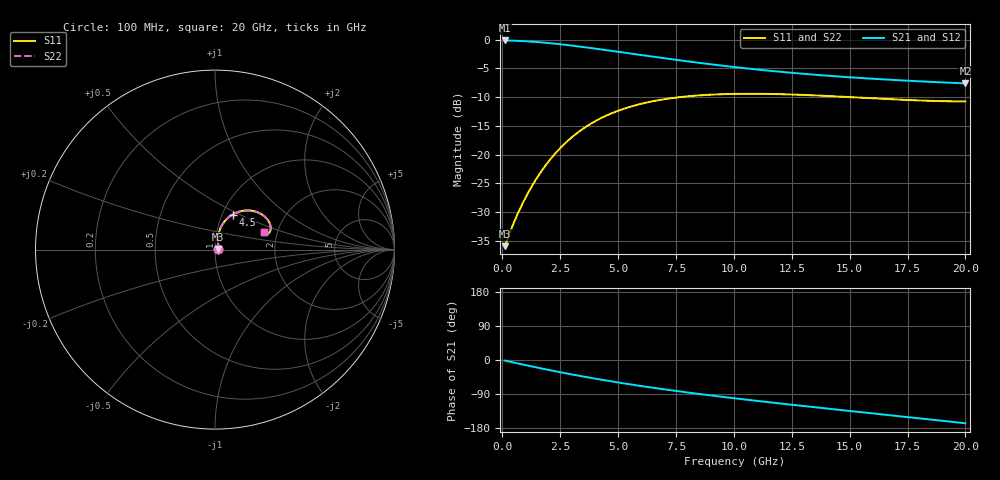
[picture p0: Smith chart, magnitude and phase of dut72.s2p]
! Touchstone file exported from HFSS 2024.1.0
!  File:  C:/UserFiles/LocalFiles/RDL_TSV_Batchsim/temp_RDL_TSV_72_1779412016.aedt
!  Generated:  09:26:28 AM May 22, 2026
!  Design:  RDL_TSV
!  Project:  temp_RDL_TSV_72_1779412016
!  Setup:  Setup1
!  Solution:  Sweep
! Variables:
!  dtsv = 5.31um
!  hbump = 3um
!  htsv = 86.79um
!  ldown = 347.56um
!  lrdl = 289.68um
!  p = 40
!  p1 = 46.55um
!  rhole = 10um
!  subl = 2201.4um
!  t = 450um
!  tdown = 2.43um
!  trdl = 4.29um
!  viad = 10um
!  wdown = 19.11um
!  wrdl = 18.54um
!  xbump = 18um
# GHz S MA R 50.000000
! Terminal data exported
! Port[1] = TM1_1_T1
! Port[2] = TM1_4_T1
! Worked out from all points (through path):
!   200 points, 100 MHz to 20 GHz, reference 50 ohm
!   highest |S21| = -0.14 dB at 100 MHz (marker M1); lowest = -7.6 dB at 20 GHz (marker M2)
!   group delay of S21, straight-line fit = 22 ps
!   lowest |S11| = -35.9 dB at 100 MHz (marker M3), VSWR 1.03, Z = 51.6 + j0.437 ohm
!   |S11| at or under -10 dB: start of sweep to 7.674 GHz; 15.03 GHz to end of sweep
!   |S22| runs from -35.9 to -9.4 dB; largest |S21 - S12| = 1.1e-14
!   S11 on the Smith chart (normalised r, x): 100 MHz: 1.03, +0.01; 4.5 GHz: 1.12, +0.46; 20 GHz: 1.70, +0.37
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0.1  0.01594 15.4  0.9845 -1.4  0.9845 -1.4  0.01594 15.4
! Gamma 0 0 0 0
! Port Impedance 50 0 50 0
0.5  0.02561 49.8  0.9797 -6.8  0.9797 -6.8  0.02561 49.8
0.8  0.03496 61.7  0.974 -10.8  0.974 -10.8  0.03497 61.7
1.2  0.04988 70.9  0.9637 -16.0  0.9637 -16.0  0.04989 70.9
1.6  0.06745 75.4  0.9504 -21.2  0.9504 -21.2  0.06745 75.4
2  0.08715 77.0  0.9346 -26.2  0.9346 -26.2  0.08715 76.9
2.5  0.1137 76.4  0.9124 -32.2  0.9124 -32.2  0.1137 76.4
3  0.1413 74.1  0.8882 -38.1  0.8882 -38.1  0.1413 74.1
3.5  0.1685 71.0  0.8628 -43.7  0.8628 -43.7  0.1685 70.9
4  0.1945 67.3  0.8369 -49.1  0.8369 -49.1  0.1945 67.3
4.5  0.2186 63.4  0.8108 -54.3  0.8108 -54.3  0.2186 63.4
5.6  0.2635 54.9  0.7547 -65.0  0.7547 -65.0  0.2634 54.9
6.8  0.2987 46.4  0.698 -75.8  0.698 -75.8  0.2986 46.4
7.6  0.315 41.4  0.6636 -82.5  0.6636 -82.5  0.3149 41.4
8.4  0.3263 36.9  0.6322 -88.9  0.6322 -88.9  0.3263 36.9
10.1  0.3375 29.0  0.5752 -101.5  0.5752 -101.5  0.3374 29.0
11.7  0.3365 23.5  0.5326 -112.7  0.5326 -112.7  0.3364 23.4
13.4  0.328 19.4  0.4969 -124.1  0.4969 -124.1  0.3278 19.4
15  0.3165 17.3  0.4705 -134.5  0.4705 -134.5  0.3162 17.3
16.7  0.3037 16.8  0.4482 -145.5  0.4482 -145.5  0.3034 16.8
18.4  0.2938 18.0  0.4303 -156.5  0.4303 -156.5  0.2935 18.0
20  0.2899 20.2  0.4161 -166.9  0.4161 -166.9  0.2895 20.2
